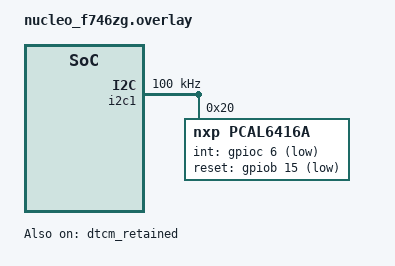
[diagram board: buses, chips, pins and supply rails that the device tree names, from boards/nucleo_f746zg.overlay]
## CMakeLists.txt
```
# SPDX-License-Identifier: Apache-2.0

cmake_minimum_required(VERSION 3.20.0)
find_package(Zephyr REQUIRED HINTS $ENV{ZEPHYR_BASE})
project(retention)

FILE(GLOB app_sources src/*.c)
target_sources(app PRIVATE ${app_sources})
```

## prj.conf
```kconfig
CONFIG_GPIO=y
CONFIG_RETAINED_MEM=y
CONFIG_RETENTION=y
CONFIG_RETENTION_DEVICE_STATE_MODULE=y
CONFIG_DEVICE_STATE_RETENTION=y

CONFIG_RETENTION_INIT_PRIORITY=80
CONFIG_RETENTION_DEVICE_STATE_MODULE_INIT_PRIORITY=81
CONFIG_GPIO_PCAL64XXA_INIT_PRIORITY=82
```

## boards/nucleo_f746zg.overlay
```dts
/*
 * Copyright 2024 SILA Embedded Solutions GmbH
 *
 * SPDX-License-Identifier: Apache-2.0
 */

/ {
	chosen {
		zephyr,device-state-retention = &device_state_retention;
	};

	dtcm_retained: dtcm@2000FC00 {
		compatible = "zephyr,memory-region", "arm,dtcm";
		reg = <0x2000FC00 DT_SIZE_K(1)>;
		zephyr,memory-region = "RETAINED";
		zephyr,memory-attr = <( DT_MEM_ARM_MPU_RAM_NOCACHE )>;
		status = "okay";

		retainedmem {
			compatible = "zephyr,retained-ram";
			status = "okay";
			#address-cells = <1>;
			#size-cells = <1>;

			retention: retention@0 {
				compatible = "zephyr,retention";
				status = "okay";
				#address-cells = <1>;
				#size-cells = <1>;
				reg = <0x0 0x10>;
				prefix = [42];
				checksum = <1>;

				device_state_retention: device_state_retention@0 {
					compatible = "zephyr,device-state-retention";
					status = "okay";
					#address-cells = <1>;
					#size-cells = <1>;
					reg = <0x0 0xE>;
					device-count = <1>;
				};
			};
		};
	};
};

&i2c1 {
	status = "okay";
	clock-frequency = <I2C_BITRATE_STANDARD>;

	pcal6416a: pcal6416a@20 {
		compatible = "nxp,pcal6416a";
		status = "okay";
		reg = <0x20>;
		gpio-controller;
		#gpio-cells = <2>;
		ngpios = <16>;
		int-gpios = <&gpioc 6 (GPIO_PULL_UP | GPIO_ACTIVE_LOW)>;
		reset-gpios = <&gpiob 15 (GPIO_PULL_UP | GPIO_ACTIVE_LOW)>;
		zephyr,retention-index = <0>;
	};
};

&dtcm {
	reg = < 0x20000000 DT_SIZE_K(63) >;
	zephyr,memory-attr = <( DT_MEM_ARM_MPU_RAM_NOCACHE )>;
};
```

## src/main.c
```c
/*
 * Copyright (c) 2024 SILA Embedded Solutions GmbH
 *
 * SPDX-License-Identifier: Apache-2.0
 */

int main(void)
{
	return 0;
}
```
